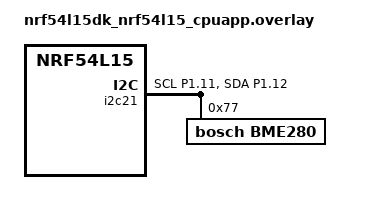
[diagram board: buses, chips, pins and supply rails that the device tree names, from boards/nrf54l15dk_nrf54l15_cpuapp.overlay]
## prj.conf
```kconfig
#
# Copyright (c) 2018 Nordic Semiconductor
#
# SPDX-License-Identifier: LicenseRef-Nordic-5-Clause
#

# Enable the UART driver
CONFIG_UART_ASYNC_API=y
CONFIG_NRFX_UARTE0=n
CONFIG_SERIAL=y

CONFIG_GPIO=y

# Make sure printk is printing to the UART console
CONFIG_CONSOLE=y
CONFIG_UART_CONSOLE=y

CONFIG_HEAP_MEM_POOL_SIZE=2048

CONFIG_BT=y
CONFIG_BT_PERIPHERAL=y
CONFIG_BT_DEVICE_NAME="Aslaks_reciever"
CONFIG_BT_MAX_CONN=1
CONFIG_BT_MAX_PAIRED=1

# Enable the NUS service
CONFIG_BT_NUS=y

# Enable bonding
CONFIG_BT_SETTINGS=y
CONFIG_FLASH=y
CONFIG_FLASH_PAGE_LAYOUT=y
CONFIG_FLASH_MAP=y

# Enable DK LED and Buttons library
CONFIG_DK_LIBRARY=y

CONFIG_SYSTEM_WORKQUEUE_STACK_SIZE=2048
# Config logger
CONFIG_LOG=y
CONFIG_USE_SEGGER_RTT=y
CONFIG_LOG_BACKEND_RTT=y
CONFIG_LOG_BACKEND_UART=n
CONFIG_LOG_PRINTK=n

CONFIG_ASSERT=y

# Enable sensor drivers
CONFIG_SENSOR=y

# Enable I2C driver for BME280
CONFIG_I2C=y
CONFIG_CBPRINTF_FP_SUPPORT=y
```

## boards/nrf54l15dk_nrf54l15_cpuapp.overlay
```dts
/*
 * Copyright (c) 2024 Nordic Semiconductor ASA
 *
 * SPDX-License-Identifier: LicenseRef-Nordic-5-Clause
 */

/ {
	chosen {
		nordic,nus-uart = &uart20;
	};
};

&i2c21 {
	status = "okay";
	pinctrl-0 = <&i2c21_default>;
	pinctrl-1 = <&i2c21_sleep>;
	pinctrl-names = "default", "sleep";
	
	bme280: bme280@77 {
		compatible = "bosch,bme280";
		status = "okay";
		reg = <0x77>;
	};
};

&pinctrl {
	/omit-if-no-ref/ i2c21_default: i2c21_default {
		group1 {
			psels = <NRF_PSEL(TWIM_SCL, 1, 11)>,
				<NRF_PSEL(TWIM_SDA, 1, 12)>;
		};
	};
	
	/omit-if-no-ref/ i2c21_sleep: i2c21_sleep {
		group1 {
			psels = <NRF_PSEL(TWIM_SCL, 1, 11)>,
				<NRF_PSEL(TWIM_SDA, 1, 12)>;
			low-power-enable;
		};
	};
};
```

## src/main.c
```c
/*
 * Copyright (c) 2018 Nordic Semiconductor ASA
 *
 * SPDX-License-Identifier: LicenseRef-Nordic-5-Clause
 */

/** @file
 *  @brief Nordic UART Bridge Service (NUS) sample
 */
#include <uart_async_adapter.h>

#include <zephyr/types.h>
#include <zephyr/kernel.h>
#include <zephyr/drivers/uart.h>
#include <zephyr/usb/usb_device.h>

#include <zephyr/device.h>
#include <zephyr/devicetree.h>
#include <soc.h>

#include <zephyr/bluetooth/bluetooth.h>
#include <zephyr/bluetooth/uuid.h>
#include <zephyr/bluetooth/gatt.h>
#include <zephyr/bluetooth/hci.h>

#include <bluetooth/services/nus.h>

#include <dk_buttons_and_leds.h>
#include <zephyr/drivers/gpio.h>
#include <zephyr/drivers/sensor.h>
#include <zephyr/drivers/i2c.h>

#include <zephyr/settings/settings.h>

#include <stdio.h>
#include <string.h>

#include <zephyr/logging/log.h>

#define LOG_MODULE_NAME peripheral_uart
LOG_MODULE_REGISTER(LOG_MODULE_NAME);

#define STACKSIZE CONFIG_BT_NUS_THREAD_STACK_SIZE
#define PRIORITY 7

#define DEVICE_NAME CONFIG_BT_DEVICE_NAME
#define DEVICE_NAME_LEN	(sizeof(DEVICE_NAME) - 1)

#define RUN_STATUS_LED DK_LED1
#define RUN_LED_BLINK_INTERVAL 1000

#define CON_STATUS_LED DK_LED2

#define KEY_PASSKEY_ACCEPT DK_BTN1_MSK
#define KEY_PASSKEY_REJECT DK_BTN2_MSK

#define UART_BUF_SIZE CONFIG_BT_NUS_UART_BUFFER_SIZE
#define UART_WAIT_FOR_BUF_DELAY K_MSEC(50)
#define UART_WAIT_FOR_RX CONFIG_BT_NUS_UART_RX_WAIT_TIME

/* Track LED state for BLE transmission */
static bool led_state = false;

/* Temperature sensor device */
static const struct device *temp_sensor;

/* BME280 I2C device and registers */
static struct i2c_dt_spec bme280_dev;
#define BME280_CHIP_ID 0x60
#define BME280_ID_REG 0xD0
#define BME280_CTRLMEAS 0xF4
#define BME280_TEMPMSB 0xFA
#define BME280_PRESSMSB 0xF7
#define BME280_HUMMSB 0xFD
#define BME280_CALIB00 0x88
#define BME280_CALIB_HUM 0xA1
#define BME280_ADDR 0x77

/* BME280 calibration data structure - temperature only */
struct bme280_calib {
	uint16_t dig_t1;
	int16_t dig_t2;
	int16_t dig_t3;
};

static struct bme280_calib bme280_calib_data;

/* Button GPIO setup */
#define SW0_NODE DT_ALIAS(sw0)
static const struct gpio_dt_spec button = GPIO_DT_SPEC_GET(SW0_NODE, gpios);
static struct gpio_callback button_cb_data;

/* LED2 setup for button toggle */
#define LED2_NODE DT_ALIAS(led2)
static const struct gpio_dt_spec led2 = GPIO_DT_SPEC_GET(LED2_NODE, gpios);

static K_SEM_DEFINE(ble_init_ok, 0, 1);

static struct bt_conn *current_conn;
static struct bt_conn *auth_conn;
static struct k_work adv_work;

/* Periodic timer for sending data */
static struct k_work periodic_send_work;
static void periodic_timer_handler(struct k_timer *timer);
K_TIMER_DEFINE(periodic_timer, periodic_timer_handler, NULL);

static const struct device *uart = DEVICE_DT_GET(DT_CHOSEN(nordic_nus_uart));
static struct k_work_delayable uart_work;

struct uart_data_t {
	void *fifo_reserved;
	uint8_t data[UART_BUF_SIZE];
	uint16_t len;
};

static K_FIFO_DEFINE(fifo_uart_tx_data);
static K_FIFO_DEFINE(fifo_uart_rx_data);

static const struct bt_data ad[] = {
	BT_DATA_BYTES(BT_DATA_FLAGS, (BT_LE_AD_GENERAL | BT_LE_AD_NO_BREDR)),
	BT_DATA(BT_DATA_NAME_COMPLETE, DEVICE_NAME, DEVICE_NAME_LEN),
};

static const struct bt_data sd[] = {
	BT_DATA_BYTES(BT_DATA_UUID128_ALL, BT_UUID_NUS_VAL),
};

/* Button press work for BLE transmission */
static struct k_work button_press_work;

static void button_press_work_handler(struct k_work *work)
{
	char msg[64];
	int len;

	len = snprintf(msg, sizeof(msg), "Button pressed - LED: %s\r\n",
		       led_state ? "ON" : "OFF");

	int err = bt_nus_send(NULL, (const uint8_t *)msg, len);
	if (err) {
		LOG_WRN("Failed to send button message (err %d)", err);
	} else {
		LOG_INF("Button message sent: %s", msg);
	}
}

/* Button callback to trigger BLE transmission */
static void button_pressed(const struct device *dev, struct gpio_callback *cb,
			    uint32_t pins)
{
	/* Toggle LED2 and update state */
	int err = gpio_pin_toggle_dt(&led2);
	if (err < 0) {
		LOG_ERR("Failed to toggle LED2 (err %d)", err);
		return;
	}
	
	/* Update LED state to match physical state */
	led_state = !led_state;
	
	LOG_INF("Button pressed, LED2 toggled to %s", led_state ? "ON" : "OFF");
	k_work_submit(&button_press_work);
}

#ifdef CONFIG_UART_ASYNC_ADAPTER
UART_ASYNC_ADAPTER_INST_DEFINE(async_adapter);
#else
#define async_adapter NULL
#endif

/* Temperature sensor reading function */
static int read_temperature(struct sensor_value *val)
{
	int ret;

	if (!temp_sensor) {
		return -ENODEV;
	}

	ret = sensor_sample_fetch_chan(temp_sensor, SENSOR_CHAN_AMBIENT_TEMP);
	if (ret < 0) {
		LOG_ERR("Could not fetch temperature: %d", ret);
		return ret;
	}

	ret = sensor_channel_get(temp_sensor, SENSOR_CHAN_AMBIENT_TEMP, val);
	if (ret < 0) {
		LOG_ERR("Could not get temperature: %d", ret);
		return ret;
	}
	return ret;
}

/* Read BME280 calibration data - temperature only */
static int bme280_read_calibration(void)
{
	uint8_t calib[6];
	int ret;
	
	/* Read temperature calibration (6 bytes) - same as exercise */
	ret = i2c_burst_read_dt(&bme280_dev, BME280_CALIB00, calib, 6);
	if (ret != 0) {
		printk("Failed to read calibration: %d\n", ret);
		return ret;
	}
	
	/* Temperature calibration (same as exercise) */
	bme280_calib_data.dig_t1 = ((uint16_t)calib[1] << 8) | calib[0];
	bme280_calib_data.dig_t2 = ((int16_t)calib[3] << 8) | calib[2];
	bme280_calib_data.dig_t3 = ((int16_t)calib[5] << 8) | calib[4];
	
	printk("Calibration loaded\n");
	
	return 0;
}

/* Compensate temperature using calibration data (same as exercise) */
static int32_t bme280_compensate_temp(int32_t adc_temp)
{
	int32_t var1, var2;

	var1 = (((adc_temp >> 3) - ((int32_t)bme280_calib_data.dig_t1 << 1)) * 
		((int32_t)bme280_calib_data.dig_t2)) >> 11;

	var2 = (((((adc_temp >> 4) - ((int32_t)bme280_calib_data.dig_t1)) *
		  ((adc_temp >> 4) - ((int32_t)bme280_calib_data.dig_t1))) >> 12) *
		((int32_t)bme280_calib_data.dig_t3)) >> 14;

	return ((var1 + var2) * 5 + 128) >> 8;
}

/* Read temperature from BME280 via I2C (same as exercise) */
static float bme280_read_temperature(void)
{
	uint8_t temp_data[3] = {0};
	int ret;

	if (!device_is_ready(bme280_dev.bus)) {
		return -999.0f;
	}

	/* Read 3 bytes starting from TEMPMSB register */
	ret = i2c_burst_read_dt(&bme280_dev, BME280_TEMPMSB, temp_data, 3);
	if (ret != 0) {
		printk("Failed to read temperature\n");
		return -999.0f;
	}

	/* Raw ADC value: MSB[7:0] | LSB[7:4] | XLSB[7:4] (same as exercise) */
	int32_t adc_temp = (temp_data[0] << 12) | (temp_data[1] << 4) | ((temp_data[2] >> 4) & 0x0F);
	
	/* Compensate temperature using calibration data */
	int32_t comp_temp = bme280_compensate_temp(adc_temp);
	
	/* Convert to temperature in Celsius (comp_temp is in 0.01°C units) */
	float temperature = (float)comp_temp / 100.0f;
	
	return temperature;
}

static void periodic_send_work_handler(struct k_work *work)
{
	char msg[128];
	int len;
	float temperature;

	/* Read temperature from BME280 */
	temperature = bme280_read_temperature();

	if (temperature > -999.0f) {
		len = snprintf(msg, sizeof(msg), "LED: %s, Temp: %.2f°C\r\n",
			       led_state ? "ON" : "OFF", temperature);
	} else {
		len = snprintf(msg, sizeof(msg), "LED: %s, Temp: N/A\r\n",
			       led_state ? "ON" : "OFF");
	}

	int err = bt_nus_send(NULL, (const uint8_t *)msg, len);
	if (err) {
		LOG_WRN("Failed to send periodic message (err %d)", err);
	} else {
		LOG_INF("Periodic message sent via BLE: %s", msg);
	}
}

static void periodic_timer_handler(struct k_timer *timer)
{
	k_work_submit(&periodic_send_work);
}

static void uart_cb(const struct device *dev, struct uart_event *evt, void *user_data)
{
	ARG_UNUSED(dev);

	static size_t aborted_len;
	struct uart_data_t *buf;
	static uint8_t *aborted_buf;
	static bool disable_req;

	switch (evt->type) {
	case UART_TX_DONE:
		LOG_DBG("UART_TX_DONE");
		if ((evt->data.tx.len == 0) ||
		    (!evt->data.tx.buf)) {
			return;
		}

		if (aborted_buf) {
			buf = CONTAINER_OF(aborted_buf, struct uart_data_t,
					   data[0]);
			aborted_buf = NULL;
			aborted_len = 0;
		} else {
			buf = CONTAINER_OF(evt->data.tx.buf, struct uart_data_t,
					   data[0]);
		}

		k_free(buf);

		buf = k_fifo_get(&fifo_uart_tx_data, K_NO_WAIT);
		if (!buf) {
			return;
		}

		if (uart_tx(uart, buf->data, buf->len, SYS_FOREVER_MS)) {
			LOG_WRN("Failed to send data over UART");
		}

		break;

	case UART_RX_RDY:
		LOG_DBG("UART_RX_RDY");
		buf = CONTAINER_OF(evt->data.rx.buf, struct uart_data_t, data[0]);
		buf->len += evt->data.rx.len;

		if (disable_req) {
			return;
		}

		if ((evt->data.rx.buf[buf->len - 1] == '\n') ||
		    (evt->data.rx.buf[buf->len - 1] == '\r')) {
			disable_req = true;
			uart_rx_disable(uart);
		}

		break;

	case UART_RX_DISABLED:
		LOG_DBG("UART_RX_DISABLED");
		disable_req = false;

		buf = k_malloc(sizeof(*buf));
		if (buf) {
			buf->len = 0;
		} else {
			LOG_WRN("Not able to allocate UART receive buffer");
			k_work_reschedule(&uart_work, UART_WAIT_FOR_BUF_DELAY);
			return;
		}

		uart_rx_enable(uart, buf->data, sizeof(buf->data),
			       UART_WAIT_FOR_RX);

		break;

	case UART_RX_BUF_REQUEST:
		LOG_DBG("UART_RX_BUF_REQUEST");
		buf = k_malloc(sizeof(*buf));
		if (buf) {
			buf->len = 0;
			uart_rx_buf_rsp(uart, buf->data, sizeof(buf->data));
		} else {
			LOG_WRN("Not able to allocate UART receive buffer");
		}

		break;

	case UART_RX_BUF_RELEASED:
		LOG_DBG("UART_RX_BUF_RELEASED");
		buf = CONTAINER_OF(evt->data.rx_buf.buf, struct uart_data_t,
				   data[0]);

		if (buf->len > 0) {
			k_fifo_put(&fifo_uart_rx_data, buf);
		} else {
			k_free(buf);
		}

		break;

	case UART_TX_ABORTED:
		LOG_DBG("UART_TX_ABORTED");
		if (!aborted_buf) {
			aborted_buf = (uint8_t *)evt->data.tx.buf;
		}

		aborted_len += evt->data.tx.len;
		buf = CONTAINER_OF((void *)aborted_buf, struct uart_data_t,
				   data);

		uart_tx(uart, &buf->data[aborted_len],
			buf->len - aborted_len, SYS_FOREVER_MS);

		break;

	default:
		break;
	}
}

static void uart_work_handler(struct k_work *item)
{
	struct uart_data_t *buf;

	buf = k_malloc(sizeof(*buf));
	if (buf) {
		buf->len = 0;
	} else {
		LOG_WRN("Not able to allocate UART receive buffer");
		k_work_reschedule(&uart_work, UART_WAIT_FOR_BUF_DELAY);
		return;
	}

	uart_rx_enable(uart, buf->data, sizeof(buf->data), UART_WAIT_FOR_RX);
}

static bool uart_test_async_api(const struct device *dev)
{
	const struct uart_driver_api *api =
			(const struct uart_driver_api *)dev->api;

	return (api->callback_set != NULL);
}

static int uart_init(void)
{
	int err;
	int pos;
	struct uart_data_t *rx;
	struct uart_data_t *tx;

	if (!device_is_ready(uart)) {
		return -ENODEV;
	}

	if (IS_ENABLED(CONFIG_USB_DEVICE_STACK)) {
		err = usb_enable(NULL);
		if (err && (err != -EALREADY)) {
			LOG_ERR("Failed to enable USB");
			return err;
		}
	}

	rx = k_malloc(sizeof(*rx));
	if (rx) {
		rx->len = 0;
	} else {
		return -ENOMEM;
	}

	k_work_init_delayable(&uart_work, uart_work_handler);


	if (IS_ENABLED(CONFIG_UART_ASYNC_ADAPTER) && !uart_test_async_api(uart)) {
		/* Implement API adapter */
		uart_async_adapter_init(async_adapter, uart);
		uart = async_adapter;
	}

	err = uart_callback_set(uart, uart_cb, NULL);
	if (err) {
		k_free(rx);
		LOG_ERR("Cannot initialize UART callback");
		return err;
	}

	if (IS_ENABLED(CONFIG_UART_LINE_CTRL)) {
		LOG_INF("Wait for DTR");
		while (true) {
			uint32_t dtr = 0;

			uart_line_ctrl_get(uart, UART_LINE_CTRL_DTR, &dtr);
			if (dtr) {
				break;
			}
			/* Give CPU resources to low priority threads. */
			k_sleep(K_MSEC(100));
		}
		LOG_INF("DTR set");
		err = uart_line_ctrl_set(uart, UART_LINE_CTRL_DCD, 1);
		if (err) {
			LOG_WRN("Failed to set DCD, ret code %d", err);
		}
		err = uart_line_ctrl_set(uart, UART_LINE_CTRL_DSR, 1);
		if (err) {
			LOG_WRN("Failed to set DSR, ret code %d", err);
		}
	}

	tx = k_malloc(sizeof(*tx));

	if (tx) {
		pos = snprintf(tx->data, sizeof(tx->data),
			       "Starting Nordic UART service sample\r\n");

		if ((pos < 0) || (pos >= sizeof(tx->data))) {
			k_free(rx);
			k_free(tx);
			LOG_ERR("snprintf returned %d", pos);
			return -ENOMEM;
		}

		tx->len = pos;
	} else {
		k_free(rx);
		return -ENOMEM;
	}

	err = uart_tx(uart, tx->data, tx->len, SYS_FOREVER_MS);
	if (err) {
		k_free(rx);
		k_free(tx);
		LOG_ERR("Cannot display welcome message (err: %d)", err);
		return err;
	}

	err = uart_rx_enable(uart, rx->data, sizeof(rx->data), UART_WAIT_FOR_RX);
	if (err) {
		LOG_ERR("Cannot enable uart reception (err: %d)", err);
		/* Free the rx buffer only because the tx buffer will be handled in the callback */
		k_free(rx);
	}

	return err;
}

static void adv_work_handler(struct k_work *work)
{
	int err = bt_le_adv_start(BT_LE_ADV_CONN_FAST_2, ad, ARRAY_SIZE(ad), sd, ARRAY_SIZE(sd));

	if (err) {
		LOG_ERR("Advertising failed to start (err %d)", err);
		return;
	}

	LOG_INF("Advertising successfully started");
}

static void advertising_start(void)
{
	k_work_submit(&adv_work);
}

static void connected(struct bt_conn *conn, uint8_t err)
{
	char addr[BT_ADDR_LE_STR_LEN];

	if (err) {
		LOG_ERR("Connection failed, err 0x%02x %s", err, bt_hci_err_to_str(err));
		return;
	}

	bt_addr_le_to_str(bt_conn_get_dst(conn), addr, sizeof(addr));
	LOG_INF("Connected %s", addr);

	current_conn = bt_conn_ref(conn);

	dk_set_led_on(CON_STATUS_LED);
}

static void disconnected(struct bt_conn *conn, uint8_t reason)
{
	char addr[BT_ADDR_LE_STR_LEN];

	bt_addr_le_to_str(bt_conn_get_dst(conn), addr, sizeof(addr));

	LOG_INF("Disconnected: %s, reason 0x%02x %s", addr, reason, bt_hci_err_to_str(reason));

	if (auth_conn) {
		bt_conn_unref(auth_conn);
		auth_conn = NULL;
	}

	if (current_conn) {
		bt_conn_unref(current_conn);
		current_conn = NULL;
		dk_set_led_off(CON_STATUS_LED);
	}
}

static void recycled_cb(void)
{
	LOG_INF("Connection object available from previous conn. Disconnect is complete!");
	advertising_start();
}

#ifdef CONFIG_BT_NUS_SECURITY_ENABLED
static void security_changed(struct bt_conn *conn, bt_security_t level,
			     enum bt_security_err err)
{
	char addr[BT_ADDR_LE_STR_LEN];

	bt_addr_le_to_str(bt_conn_get_dst(conn), addr, sizeof(addr));

	if (!err) {
		LOG_INF("Security changed: %s level %u", addr, level);
	} else {
		LOG_WRN("Security failed: %s level %u err %d %s", addr, level, err,
			bt_security_err_to_str(err));
	}
}
#endif

BT_CONN_CB_DEFINE(conn_callbacks) = {
	.connected        = connected,
	.disconnected     = disconnected,
	.recycled         = recycled_cb,
#ifdef CONFIG_BT_NUS_SECURITY_ENABLED
	.security_changed = security_changed,
#endif
};

#if defined(CONFIG_BT_NUS_SECURITY_ENABLED)
static void auth_passkey_display(struct bt_conn *conn, unsigned int passkey)
{
	char addr[BT_ADDR_LE_STR_LEN];

	bt_addr_le_to_str(bt_conn_get_dst(conn), addr, sizeof(addr));

	LOG_INF("Passkey for %s: %06u", addr, passkey);
}

static void auth_passkey_confirm(struct bt_conn *conn, unsigned int passkey)
{
	char addr[BT_ADDR_LE_STR_LEN];

	auth_conn = bt_conn_ref(conn);

	bt_addr_le_to_str(bt_conn_get_dst(conn), addr, sizeof(addr));

	LOG_INF("Passkey for %s: %06u", addr, passkey);

	if (IS_ENABLED(CONFIG_SOC_SERIES_NRF54HX) || IS_ENABLED(CONFIG_SOC_SERIES_NRF54LX)) {
		LOG_INF("Press Button 0 to confirm, Button 1 to reject.");
	} else {
		LOG_INF("Press Button 1 to confirm, Button 2 to reject.");
	}
}


static void auth_cancel(struct bt_conn *conn)
{
	char addr[BT_ADDR_LE_STR_LEN];

	bt_addr_le_to_str(bt_conn_get_dst(conn), addr, sizeof(addr));

	LOG_INF("Pairing cancelled: %s", addr);
}


static void pairing_complete(struct bt_conn *conn, bool bonded)
{
	char addr[BT_ADDR_LE_STR_LEN];

	bt_addr_le_to_str(bt_conn_get_dst(conn), addr, sizeof(addr));

	LOG_INF("Pairing completed: %s, bonded: %d", addr, bonded);
}


static void pairing_failed(struct bt_conn *conn, enum bt_security_err reason)
{
	char addr[BT_ADDR_LE_STR_LEN];

	bt_addr_le_to_str(bt_conn_get_dst(conn), addr, sizeof(addr));

	LOG_INF("Pairing failed conn: %s, reason %d %s", addr, reason,
		bt_security_err_to_str(reason));
}

static struct bt_conn_auth_cb conn_auth_callbacks = {
	.passkey_display = auth_passkey_display,
	.passkey_confirm = auth_passkey_confirm,
	.cancel = auth_cancel,
};

static struct bt_conn_auth_info_cb conn_auth_info_callbacks = {
	.pairing_complete = pairing_complete,
	.pairing_failed = pairing_failed
};
#else
static struct bt_conn_auth_cb conn_auth_callbacks;
static struct bt_conn_auth_info_cb conn_auth_info_callbacks;
#endif

static void bt_receive_cb(struct bt_conn *conn, const uint8_t *const data,
			  uint16_t len)
{
	int err;
	char addr[BT_ADDR_LE_STR_LEN] = {0};

	bt_addr_le_to_str(bt_conn_get_dst(conn), addr, ARRAY_SIZE(addr));

	LOG_INF("Received data from: %s", addr);

	for (uint16_t pos = 0; pos != len;) {
		struct uart_data_t *tx = k_malloc(sizeof(*tx));

		if (!tx) {
			LOG_WRN("Not able to allocate UART send data buffer");
			return;
		}

		/* Keep the last byte of TX buffer for potential LF char. */
		size_t tx_data_size = sizeof(tx->data) - 1;

		if ((len - pos) > tx_data_size) {
			tx->len = tx_data_size;
		} else {
			tx->len = (len - pos);
		}

		memcpy(tx->data, &data[pos], tx->len);

		pos += tx->len;

		/* Append the LF character when the CR character triggered
		 * transmission from the peer.
		 */
		if ((pos == len) && (data[len - 1] == '\r')) {
			tx->data[tx->len] = '\n';
			tx->len++;
		}

		err = uart_tx(uart, tx->data, tx->len, SYS_FOREVER_MS);
		if (err) {
			k_fifo_put(&fifo_uart_tx_data, tx);
		}
	}
}

static struct bt_nus_cb nus_cb = {
	.received = bt_receive_cb,
};

void error(void)
{
	dk_set_leds_state(DK_ALL_LEDS_MSK, DK_NO_LEDS_MSK);

	while (true) {
		/* Spin for ever */
		k_sleep(K_MSEC(1000));
	}
}

#ifdef CONFIG_BT_NUS_SECURITY_ENABLED
static void num_comp_reply(bool accept)
{
	if (accept) {
		bt_conn_auth_passkey_confirm(auth_conn);
		LOG_INF("Numeric Match, conn %p", (void *)auth_conn);
	} else {
		bt_conn_auth_cancel(auth_conn);
		LOG_INF("Numeric Reject, conn %p", (void *)auth_conn);
	}

	bt_conn_unref(auth_conn);
	auth_conn = NULL;
}

void button_changed(uint32_t button_state, uint32_t has_changed)
{
	uint32_t buttons = button_state & has_changed;

	if (auth_conn) {
		if (buttons & KEY_PASSKEY_ACCEPT) {
			num_comp_reply(true);
		}

		if (buttons & KEY_PASSKEY_REJECT) {
			num_comp_reply(false);
		}
	}
}
#endif /* CONFIG_BT_NUS_SECURITY_ENABLED */

static void configure_gpio(void)
{
	int err;

#ifdef CONFIG_BT_NUS_SECURITY_ENABLED
	err = dk_buttons_init(button_changed);
	if (err) {
		LOG_ERR("Cannot init buttons (err: %d)", err);
	}
#endif /* CONFIG_BT_NUS_SECURITY_ENABLED */

	err = dk_leds_init();
	if (err) {
		LOG_ERR("Cannot init LEDs (err: %d)", err);
	}
}

int main(void)
{
	int blink_status = 0;
	int err = 0;

	configure_gpio();
	LOG_INF("GPIO configured");

	err = uart_init();
	LOG_INF("UART init result: %d", err);
	if (err) {
		error();
	}

	if (IS_ENABLED(CONFIG_BT_NUS_SECURITY_ENABLED)) {
		err = bt_conn_auth_cb_register(&conn_auth_callbacks);
		if (err) {
			LOG_ERR("Failed to register authorization callbacks. (err: %d)", err);
			return 0;
		}

		err = bt_conn_auth_info_cb_register(&conn_auth_info_callbacks);
		if (err) {
			LOG_ERR("Failed to register authorization info callbacks. (err: %d)", err);
			return 0;
		}
	}

	err = bt_enable(NULL);
	LOG_INF("BT enable result: %d", err);
	if (err) {
		error();
	}

	LOG_INF("Bluetooth initialized");

	k_sem_give(&ble_init_ok);

	if (IS_ENABLED(CONFIG_SETTINGS)) {
		settings_load();
	}

	err = bt_nus_init(&nus_cb);
	if (err) {
		LOG_ERR("Failed to initialize UART service (err: %d)", err);
		return 0;
	}

	k_work_init(&adv_work, adv_work_handler);
	advertising_start();

	/* Initialize button GPIO interrupt */
	if (!device_is_ready(button.port)) {
		LOG_ERR("Button device not ready");
		return 0;
	}

	int ret = gpio_pin_configure_dt(&button, GPIO_INPUT);
	if (ret < 0) {
		LOG_ERR("Failed to configure button: %d", ret);
		return 0;
	}

	ret = gpio_pin_interrupt_configure_dt(&button, GPIO_INT_EDGE_TO_ACTIVE);
	if (ret < 0) {
		LOG_ERR("Failed to configure button interrupt: %d", ret);
		return 0;
	}

	gpio_init_callback(&button_cb_data, button_pressed, BIT(button.pin));
	ret = gpio_add_callback(button.port, &button_cb_data);
	if (ret < 0) {
		LOG_ERR("Failed to add button callback: %d", ret);
		return 0;
	}

	LOG_INF("Button initialized");

	/* Initialize LED2 for button toggle */
	if (!device_is_ready(led2.port)) {
		LOG_ERR("LED2 device not ready");
		return 0;
	}

	ret = gpio_pin_configure_dt(&led2, GPIO_OUTPUT_INACTIVE);
	if (ret < 0) {
		LOG_ERR("Failed to configure LED2: %d", ret);
		return 0;
	}

	LOG_INF("LED2 initialized");

	/* Initialize BME280 I2C sensor */
	printk("Initializing BME280...\n");
	
	static const struct i2c_dt_spec bme280_spec = I2C_DT_SPEC_GET(DT_NODELABEL(bme280));
	bme280_dev = bme280_spec;
	
	if (device_is_ready(bme280_dev.bus)) {
		/* Verify BME280 chip ID */
		uint8_t id = 0;
		uint8_t id_reg = BME280_ID_REG;
		int ret = i2c_write_read_dt(&bme280_dev, &id_reg, 1, &id, 1);
		
		if (ret == 0 && id == BME280_CHIP_ID) {
			printk("BME280 detected (ID: 0x%02x)\n", id);
			
			/* Read calibration data */
			ret = bme280_read_calibration();
			if (ret != 0) {
				printk("Failed to read calibration data\n");
			}
			
			/* Configure sensor: 0x93 = normal mode, oversampling */
			uint8_t config[] = {BME280_CTRLMEAS, 0x93};
			ret = i2c_write_dt(&bme280_dev, config, 2);
			if (ret == 0) {
				printk("BME280 configured successfully\n");
			} else {
				printk("Failed to configure BME280: %d\n", ret);
			}
		} else {
			printk("BME280 not detected (ID: 0x%02x, ret: %d)\n", id, ret);
		}
	} else {
		printk("I2C bus is not ready!\n");
	}

	/* Initialize and start periodic timer */
	k_work_init(&button_press_work, button_press_work_handler);
	k_work_init(&periodic_send_work, periodic_send_work_handler);
	k_timer_start(&periodic_timer, K_SECONDS(5), K_SECONDS(5));

	for (;;) {
		dk_set_led(RUN_STATUS_LED, (++blink_status) % 2);
		k_sleep(K_MSEC(RUN_LED_BLINK_INTERVAL));
	}
}

void ble_write_thread(void)
{
	/* Don't go any further until BLE is initialized */
	k_sem_take(&ble_init_ok, K_FOREVER);
	struct uart_data_t nus_data = {
		.len = 0,
	};

	for (;;) {
		/* Wait indefinitely for data to be sent over bluetooth */
		struct uart_data_t *buf = k_fifo_get(&fifo_uart_rx_data,
						     K_FOREVER);

		int plen = MIN(sizeof(nus_data.data) - nus_data.len, buf->len);
		int loc = 0;

		while (plen > 0) {
			memcpy(&nus_data.data[nus_data.len], &buf->data[loc], plen);
			nus_data.len += plen;
			loc += plen;

			if (nus_data.len >= sizeof(nus_data.data) ||
			   (nus_data.data[nus_data.len - 1] == '\n') ||
			   (nus_data.data[nus_data.len - 1] == '\r')) {
				if (bt_nus_send(NULL, nus_data.data, nus_data.len)) {
					LOG_WRN("Failed to send data over BLE connection");
				}
				nus_data.len = 0;
			}

			plen = MIN(sizeof(nus_data.data), buf->len - loc);
		}

		k_free(buf);
	}
}

K_THREAD_DEFINE(ble_write_thread_id, STACKSIZE, ble_write_thread, NULL, NULL,
		NULL, PRIORITY, 0, 0);
```
